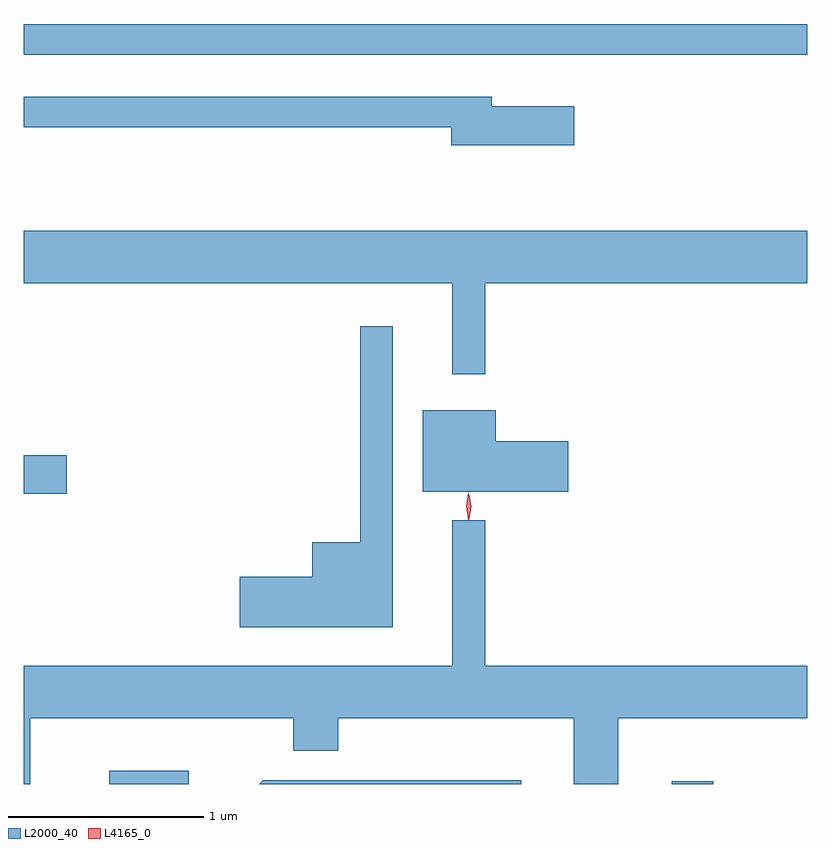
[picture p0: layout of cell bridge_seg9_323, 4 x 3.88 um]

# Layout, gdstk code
import gdstk
lib = gdstk.Library(unit=1e-6, precision=1e-09)
def R(c, l, rs):  # rectangles x0, y0, x1, y1
    for r in rs: c.add(gdstk.rectangle(r[:2], r[2:], *l))
def P(c, l, *ps):  # polygons
    for p in ps: c.add(gdstk.Polygon(p, *l))
L2000_40 = (2000, 40)
L4165_0 = (4165, 0)

bridge_seg9_323 = lib.new_cell('bridge_seg9_323')
R(bridge_seg9_323, L2000_40, [(665.661,2020.341,666.068,2020.409), (668.531,2020.341,668.744,2020.354), (665.224,2021.821,665.444,2022.019), (665.224,2024.061,669.224,2024.219)])
P(bridge_seg9_323, L2000_40, [(668.034,2023.799),(667.614,2023.799),(667.614,2023.849),(665.224,2023.849),(665.224,2023.691),(667.406,2023.691),(667.406,2023.601),(668.034,2023.601)],
  [(667.579,2022.896),(669.224,2022.896),(669.224,2023.164),(665.224,2023.164),(665.224,2022.896),(667.411,2022.896),(667.411,2022.433),(667.579,2022.433)],
  [(667.109,2022.678),(666.941,2022.678),(666.941,2021.574),(666.696,2021.574),(666.696,2021.399),(666.326,2021.399),(666.326,2021.141),(667.109,2021.141)],
  [(668.004,2022.089),(667.634,2022.089),(667.634,2022.249),(667.261,2022.249),(667.261,2021.831),(668.004,2021.831)],
  [(665.259,2020.676),(666.601,2020.676),(666.601,2020.511),(666.829,2020.511),(666.829,2020.676),(668.031,2020.676),(668.031,2020.341),(668.259,2020.341),(668.259,2020.676),(669.224,2020.676),(669.224,2020.944),(667.579,2020.944),(667.579,2021.688),(667.411,2021.688),(667.411,2020.944),(665.224,2020.944),(665.224,2020.341),(665.259,2020.341)],
  [(667.764,2020.359),(666.444,2020.359),(666.426,2020.341),(667.764,2020.341)])
P(bridge_seg9_323, L4165_0, [(667.498,2021.693),(667.489,2021.756),(667.498,2021.819),(667.499,2021.82),(667.499,2021.819),(667.509,2021.756),(667.499,2021.693),(667.499,2021.693)],
  [(667.494,2021.69),(667.484,2021.758),(667.493,2021.826),(667.494,2021.826),(667.494,2021.826),(667.504,2021.758),(667.495,2021.69),(667.495,2021.69)])

lib.write_gds('bridge_seg9_323.gds')
